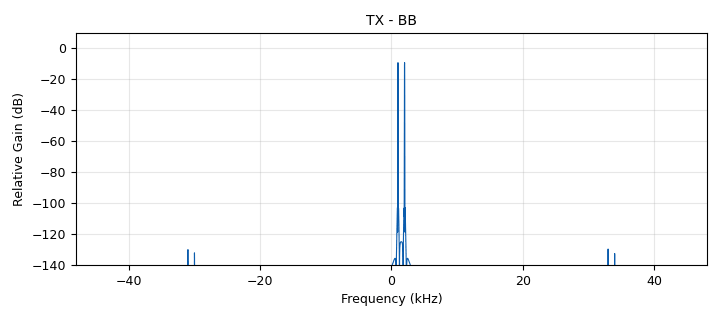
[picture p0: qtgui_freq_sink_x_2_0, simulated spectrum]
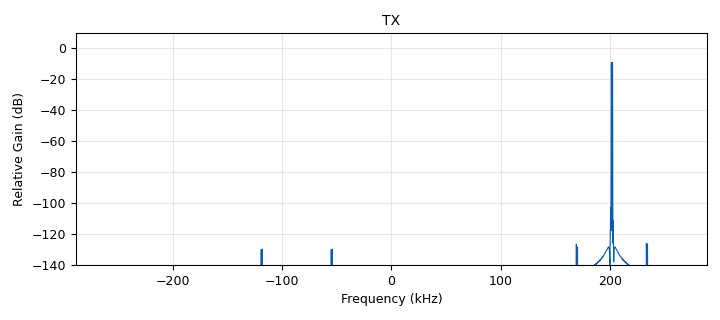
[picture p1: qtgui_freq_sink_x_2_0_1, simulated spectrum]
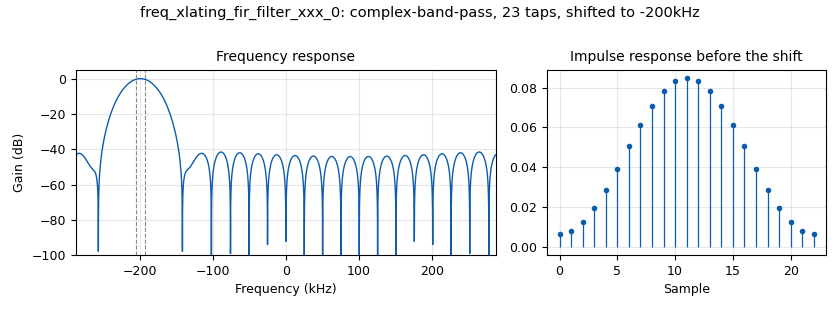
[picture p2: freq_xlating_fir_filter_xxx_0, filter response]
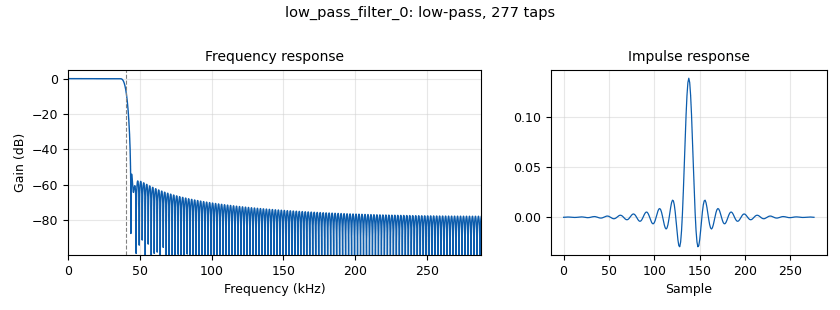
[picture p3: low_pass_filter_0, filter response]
options:
  parameters:
    author: edoar
    generate_options: qt_gui
    id: gmsk_9600_g3ruh_TRX
    output_language: python
    title: Not titled yet
  states: {}

blocks:
- name: BP_tx_band
  id: variable
  parameters:
    value: '70000'
  states: {}
- name: RX_rf_gain
  id: variable_qtgui_range
  parameters:
    start: '0'
    step: '1'
    stop: '50'
    value: '0'
  states: {}
- name: TX_rf_gain
  id: variable_qtgui_range
  parameters:
    start: '0'
    step: '1'
    stop: '50'
    value: '30'
  states: {}
- name: Vector_IN_dim
  id: variable
  parameters:
    value: '1'
  states: {}
- name: bitrate
  id: variable
  parameters:
    value: samp_rate/sps
  states: {}
- name: bt
  id: variable
  parameters:
    value: '0.5'
  states: {}
- name: carrier_
  id: variable
  parameters:
    value: wanted_carrier - up_conv_freq
  states: {}
- name: carrier_rx
  id: variable
  parameters:
    value: 437.7e6
  states: {}
- name: down_conv_freq
  id: variable
  parameters:
    value: '-200e3'
  states: {}
- name: f_dev
  id: variable
  parameters:
    value: '2400'
  states: {}
- name: gaussian_taps
  id: variable
  parameters:
    value: firdes.gaussian(1.0, sps, bt, ntaps)
  states: {}
- name: ntaps
  id: variable
  parameters:
    value: sps*4
  states: {}
- name: pkt_len
  id: variable
  parameters:
    value: '256'
  states: {}
- name: samp_rate
  id: variable
  parameters:
    value: '96000'
  states: {}
- name: sdr_samp_rate
  id: variable
  parameters:
    value: '576000'
  states: {}
- name: sens_
  id: variable
  parameters:
    value: (2*math.pi*f_dev)/samp_rate
  states: {}
- name: sps
  id: variable
  parameters:
    value: '10'
  states: {}
- name: squelch_
  id: variable_qtgui_range
  parameters:
    start: '-100'
    step: '1'
    stop: '0'
    value: '-60'
  states: {}
- name: sqwave
  id: variable
  parameters:
    value: (1,) * sps
  states: {}
- name: taps
  id: variable
  parameters:
    value: numpy.convolve(numpy.array(gaussian_taps),numpy.array(sqwave))
  states: {}
- name: up_conv_freq
  id: variable
  parameters:
    value: 200e3
  states: {}
- name: wanted_carrier
  id: variable
  parameters:
    value: 437.5e6
  states: {}
- name: analog_feedforward_agc_cc_0
  id: analog_feedforward_agc_cc
  parameters:
    num_samples: '1024'
    reference: '1'
  states: {}
- name: analog_frequency_modulator_fc_0
  id: analog_frequency_modulator_fc
  parameters:
    sensitivity: sens_
  states: {state: disabled}
- name: analog_quadrature_demod_cf_0
  id: analog_quadrature_demod_cf
  parameters:
    comment: 1/[(pi/2)/sps]
    gain: 1/sens_
  states: {state: disabled}
- name: analog_sig_source_x_0
  id: analog_sig_source_x
  parameters:
    amp: '1'
    freq: '2000'
    offset: '0'
    phase: '0'
    samp_rate: samp_rate
    type: complex
    waveform: analog.GR_COS_WAVE
  states: {}
- name: analog_sig_source_x_0_0
  id: analog_sig_source_x
  parameters:
    amp: '1'
    freq: '1000'
    offset: '0'
    phase: '0'
    samp_rate: samp_rate
    type: complex
    waveform: analog.GR_COS_WAVE
  states: {}
- name: analog_sig_source_x_0_1
  id: analog_sig_source_x
  parameters:
    amp: '1'
    freq: up_conv_freq
    offset: '0'
    phase: '0'
    samp_rate: sdr_samp_rate
    type: complex
    waveform: analog.GR_COS_WAVE
  states: {}
- name: analog_simple_squelch_cc_0
  id: analog_simple_squelch_cc
  parameters:
    alpha: '1'
    threshold: squelch_
  states: {}
- name: blocks_add_xx_0
  id: blocks_add_xx
  parameters:
    type: complex
  states: {}
- name: blocks_message_debug_0
  id: blocks_message_debug
  parameters: {}
  states: {state: disabled}
- name: blocks_message_debug_1_0_0_0
  id: blocks_message_debug
  parameters: {}
  states: {state: disabled}
- name: blocks_multiply_xx_0_1
  id: blocks_multiply_xx
  parameters:
    comment: UP-Conversion -> 1MHz
    type: complex
  states: {}
- name: digital_chunks_to_symbols_xx_0
  id: digital_chunks_to_symbols_xx
  parameters:
    dimension: '1'
    in_type: byte
    out_type: float
    symbol_table: '[-1, 1]'
  states: {state: disabled}
- name: digital_scrambler_bb_0
  id: digital_scrambler_bb
  parameters:
    comment: |-
      G3RUH
      scrambling
    len: '16'
    mask: '0x21'
    seed: '0x00'
  states: {state: disabled}
- name: digital_symbol_sync_xx_0
  id: digital_symbol_sync_xx
  parameters:
    damping: '1.0'
    loop_bw: '0.11583'
    max_dev: '0.05'
    osps: '1'
    resamp_type: digital.IR_MMSE_8TAP
    sps: sps
    ted_gain: '1.0'
    ted_type: digital.TED_MUELLER_AND_MULLER
    type: ff
  states: {state: disabled}
- name: epy_block_0
  id: epy_block
  parameters:
    Length_TAG: '''pkt_len'''
    _source_code: |-
      """=
      Embedded Python Blocks:

      Each time this file is saved, GRC will instantiate the first class it finds
      to get ports and parameters of your block. The arguments to __init__  will
      be the parameters. All of them are required to have default values!
      """

      import numpy as np
      from gnuradio import gr
      import pmt

      class blk(gr.sync_block):  # other base classes are basic_block, decim_block, interp_block
          """Embedded Python Block example - a simple multiply const"""

          def __init__(self, max_packet_len = 300, Length_TAG = "pkt_len"):  # only default arguments here
              """arguments to this function show up as parameters in GRC"""
              gr.sync_block.__init__(
                  self,
                  name='Jambon Block',   # will show up in GRC
                  in_sig=[np.byte],
                  out_sig= None)
              # if an attribute with the same name as a parameter is found,
              # a callback is registered (properties work, too).
              self.max_pkt_len_param = max_packet_len
              self.len_tag_param = Length_TAG
              
              self.OutPortName = 'PDU_out'
              self.message_port_register_out(pmt.intern(self.OutPortName))
              # self.set_msg_handler(pmt.intern(), self.handle_msg)
      	
          def work(self, input_items, output_items):
              """example: forse fare cose"""
              
              _in_ = input_items[0].astype(np.uint8)
              in_list = _in_.tolist()
              in_list_len = len(in_list)
              print(in_list_len)
              #print(" =====  >> Detected length: " + str(in_list_len))

              if (in_list_len > 0 and in_list_len < self.max_pkt_len_param):
              
                  d_pdu_meta = pmt.make_dict()
                  d_pdu_meta = pmt.dict_add(d_pdu_meta, pmt.string_to_symbol(self.len_tag_param), pmt.from_long(len(in_list)))
                  #self.message_port_pub(pmt.intern(self.OutPortName), pmt.intern('Jambon & Raclette'))
                  self.message_port_pub(pmt.intern(self.OutPortName), pmt.cons(d_pdu_meta, pmt.init_u8vector(in_list_len,in_list)))
                  
                  return (in_list_len)
              else:
                  return(0)
    max_packet_len: '300'
  states: {state: disabled}
- name: freq_xlating_fir_filter_xxx_0
  id: freq_xlating_fir_filter_xxx
  parameters:
    center_freq: down_conv_freq
    decim: '1'
    samp_rate: sdr_samp_rate
    taps: ' firdes.complex_band_pass(1, samp_rate, -samp_rate/100, samp_rate/100, 10000)'
    type: ccc
  states: {}
- name: import_0
  id: import
  parameters:
    imports: import numpy
  states: {}
- name: import_1
  id: import
  parameters:
    imports: import math
  states: {}
- name: interp_fir_filter_xxx_0
  id: interp_fir_filter_xxx
  parameters:
    interp: sps
    taps: taps
    type: fff
  states: {state: disabled}
- name: low_pass_filter_0
  id: low_pass_filter
  parameters:
    cutoff_freq: '40000'
    decim: '1'
    gain: '1'
    samp_rate: sdr_samp_rate
    type: fir_filter_ccf
    width: '5000'
    win: window.WIN_HAMMING
  states: {}
- name: low_pass_filter_1
  id: low_pass_filter
  parameters:
    cutoff_freq: '8000'
    decim: '1'
    gain: '1'
    samp_rate: '96000'
    type: fir_filter_ccf
    width: '4000'
    win: window.WIN_HANN
  states: {state: disabled}
- name: osmosdr_sink_0
  id: osmosdr_sink
  parameters:
    ant0: TX1
    args: '"bladerf=0,nchan=1,verbosity=verbose"'
    bb_gain0: '20'
    bw0: sdr_samp_rate
    comment: TX_freq => 437.5MHz
    freq0: 415.4e6
    gain0: TX_rf_gain
    if_gain0: '20'
    sample_rate: sdr_samp_rate
    sync: sync
    type: fc32
  states: {}
- name: osmosdr_source_0
  id: osmosdr_source
  parameters:
    ant0: RX1
    args: '"bladerf=0,nchan=1,buffers=48,transfers=24,agc_mode=manual"'
    bb_gain0: '10'
    freq0: 415.4e6
    gain0: RX_rf_gain
    gain_mode0: 'False'
    if_gain0: '10'
    sample_rate: sdr_samp_rate
    sync: sync
    type: fc32
  states: {}
- name: pdu_pdu_to_tagged_stream_0
  id: pdu_pdu_to_tagged_stream
  parameters:
    tag: pkt_len
    type: byte
  states: {state: disabled}
- name: pdu_pdu_to_tagged_stream_0_0
  id: pdu_pdu_to_tagged_stream
  parameters:
    tag: packet_len
    type: byte
  states: {state: disabled}
- name: qtgui_freq_sink_x_0_1
  id: qtgui_freq_sink_x
  parameters:
    bw: '96000'
    fc: '0'
    fftsize: '8192'
    name: after Xlating
    type: complex
    wintype: window.WIN_HANN
    ymin: '-150'
  states: {}
- name: qtgui_freq_sink_x_1
  id: qtgui_freq_sink_x
  parameters:
    bw: samp_rate*6
    fc: '0'
    fftsize: '4096'
    name: '"RX spectrum"'
    type: complex
  states: {}
- name: qtgui_freq_sink_x_2
  id: qtgui_freq_sink_x
  parameters:
    bw: sdr_samp_rate
    fc: '0'
    fftsize: '8192'
    name: Interpolated Spectrum
    showports: 'True'
    type: complex
  states: {state: disabled}
- name: qtgui_freq_sink_x_2_0
  id: qtgui_freq_sink_x
  parameters:
    bw: samp_rate
    fc: '0'
    fftsize: '8192'
    name: TX - BB
    showports: 'True'
    type: complex
  states: {}
- name: qtgui_freq_sink_x_2_0_0
  id: qtgui_freq_sink_x
  parameters:
    bw: sdr_samp_rate
    fc: '0'
    fftsize: '8192'
    name: traslated
    showports: 'True'
    type: complex
  states: {state: disabled}
- name: qtgui_freq_sink_x_2_0_1
  id: qtgui_freq_sink_x
  parameters:
    bw: 576e3
    fc: '0'
    fftsize: '8192'
    name: TX
    showports: 'True'
    type: complex
  states: {}
- name: qtgui_time_sink_x_0
  id: qtgui_time_sink_x
  parameters:
    size: '1024'
    srate: samp_rate
    type: float
  states: {state: disabled}
- name: qtgui_time_sink_x_0_0
  id: qtgui_time_sink_x
  parameters:
    ctrlpanel: 'True'
    name: '"Time Rx"'
    size: '1024'
    srate: samp_rate
    type: complex
  states: {}
- name: qtgui_time_sink_x_0_2
  id: qtgui_time_sink_x
  parameters:
    ctrlpanel: 'True'
    label1: AGC
    label2: before AGC
    name: Pre Quad
    nconnections: '2'
    size: '1024'
    srate: '96000'
    type: complex
  states: {state: disabled}
- name: qtgui_time_sink_x_1
  id: qtgui_time_sink_x
  parameters:
    name: '"BB Tx Signal - Time"'
    size: '10000'
    srate: sdr_samp_rate
    type: complex
  states: {state: disabled}
- name: qtgui_waterfall_sink_x_0
  id: qtgui_waterfall_sink_x
  parameters:
    bw: sdr_samp_rate
    fc: '0'
    fftsize: '1024'
    name: '"RX Waterfall"'
    type: complex
  states: {}
- name: rational_resampler_xxx_0
  id: rational_resampler_xxx
  parameters:
    decim: '1'
    interp: '6'
    type: ccc
  states: {}
- name: rational_resampler_xxx_0_0
  id: rational_resampler_xxx
  parameters:
    comment: 576ksps to 96ksps
    decim: '6'
    fbw: '0.4'
    interp: '1'
    type: ccc
  states: {}
- name: satellites_ax25_deframer_0
  id: satellites_ax25_deframer
  parameters:
    g3ruh_scrambler: 'True'
  states: {state: disabled}
- name: satellites_check_address_0
  id: satellites_check_address
  parameters:
    address: SPEIST
    direction: '"from"'
  states: {state: disabled}
- name: satellites_hdlc_framer_0
  id: satellites_hdlc_framer
  parameters:
    comment: |-
      Perform:
      - bit stuffing
      - flags append
      - CRC append
      - pre/postamble append
    postamble_bytes: '50'
    preamble_bytes: '300'
  states: {state: disabled}
- name: satellites_nrzi_encode_0
  id: satellites_nrzi_encode
  parameters: {}
  states: {state: disabled}
- name: virtual_sink_0
  id: virtual_sink
  parameters:
    stream_id: mod_in
  states: {state: disabled}
- name: virtual_source_0
  id: virtual_source
  parameters:
    stream_id: mod_in
  states: {state: disabled}
- name: zeromq_rep_sink_2
  id: zeromq_rep_sink
  parameters:
    address: tcp://127.0.0.1:5558
    timeout: '100'
    type: byte
  states: {state: disabled}
- name: zeromq_req_source_0
  id: zeromq_req_source
  parameters:
    address: tcp://127.0.0.1:5557
    timeout: '100'
    type: byte
    vlen: Vector_IN_dim
  states: {state: disabled}

connections:
- [analog_feedforward_agc_cc_0, '0', low_pass_filter_1, '0']
- [analog_feedforward_agc_cc_0, '0', qtgui_time_sink_x_0_0, '0']
- [analog_feedforward_agc_cc_0, '0', qtgui_time_sink_x_0_2, '0']
- [analog_frequency_modulator_fc_0, '0', rational_resampler_xxx_0, '0']
- [analog_quadrature_demod_cf_0, '0', digital_symbol_sync_xx_0, '0']
- [analog_quadrature_demod_cf_0, '0', qtgui_time_sink_x_0, '0']
- [analog_sig_source_x_0, '0', blocks_add_xx_0, '0']
- [analog_sig_source_x_0_0, '0', blocks_add_xx_0, '1']
- [analog_sig_source_x_0_1, '0', blocks_multiply_xx_0_1, '1']
- [analog_simple_squelch_cc_0, '0', analog_feedforward_agc_cc_0, '0']
- [blocks_add_xx_0, '0', qtgui_freq_sink_x_2_0, '0']
- [blocks_add_xx_0, '0', rational_resampler_xxx_0, '0']
- [blocks_multiply_xx_0_1, '0', osmosdr_sink_0, '0']
- [blocks_multiply_xx_0_1, '0', qtgui_freq_sink_x_2, '0']
- [blocks_multiply_xx_0_1, '0', qtgui_freq_sink_x_2_0_1, '0']
- [digital_chunks_to_symbols_xx_0, '0', interp_fir_filter_xxx_0, '0']
- [digital_scrambler_bb_0, '0', digital_chunks_to_symbols_xx_0, '0']
- [digital_symbol_sync_xx_0, '0', satellites_ax25_deframer_0, '0']
- [epy_block_0, PDU_out, blocks_message_debug_0, print]
- [epy_block_0, PDU_out, satellites_hdlc_framer_0, in]
- [freq_xlating_fir_filter_xxx_0, '0', rational_resampler_xxx_0_0, '0']
- [interp_fir_filter_xxx_0, '0', analog_frequency_modulator_fc_0, '0']
- [low_pass_filter_0, '0', blocks_multiply_xx_0_1, '0']
- [low_pass_filter_0, '0', qtgui_freq_sink_x_2_0_0, '0']
- [low_pass_filter_0, '0', qtgui_time_sink_x_1, '0']
- [low_pass_filter_1, '0', analog_quadrature_demod_cf_0, '0']
- [osmosdr_source_0, '0', freq_xlating_fir_filter_xxx_0, '0']
- [osmosdr_source_0, '0', qtgui_freq_sink_x_1, '0']
- [osmosdr_source_0, '0', qtgui_waterfall_sink_x_0, '0']
- [pdu_pdu_to_tagged_stream_0, '0', virtual_sink_0, '0']
- [pdu_pdu_to_tagged_stream_0_0, '0', zeromq_rep_sink_2, '0']
- [rational_resampler_xxx_0, '0', low_pass_filter_0, '0']
- [rational_resampler_xxx_0_0, '0', analog_simple_squelch_cc_0, '0']
- [rational_resampler_xxx_0_0, '0', qtgui_freq_sink_x_0_1, '0']
- [rational_resampler_xxx_0_0, '0', qtgui_time_sink_x_0_2, '1']
- [satellites_ax25_deframer_0, out, blocks_message_debug_1_0_0_0, print]
- [satellites_ax25_deframer_0, out, pdu_pdu_to_tagged_stream_0_0, pdus]
- [satellites_ax25_deframer_0, out, satellites_check_address_0, in]
- [satellites_check_address_0, ok, pdu_pdu_to_tagged_stream_0_0, pdus]
- [satellites_hdlc_framer_0, out, pdu_pdu_to_tagged_stream_0, pdus]
- [satellites_nrzi_encode_0, '0', digital_scrambler_bb_0, '0']
- [virtual_source_0, '0', satellites_nrzi_encode_0, '0']
- [zeromq_req_source_0, '0', epy_block_0, '0']

metadata:
  file_format: 1
  grc_version: 3.10.5.1
